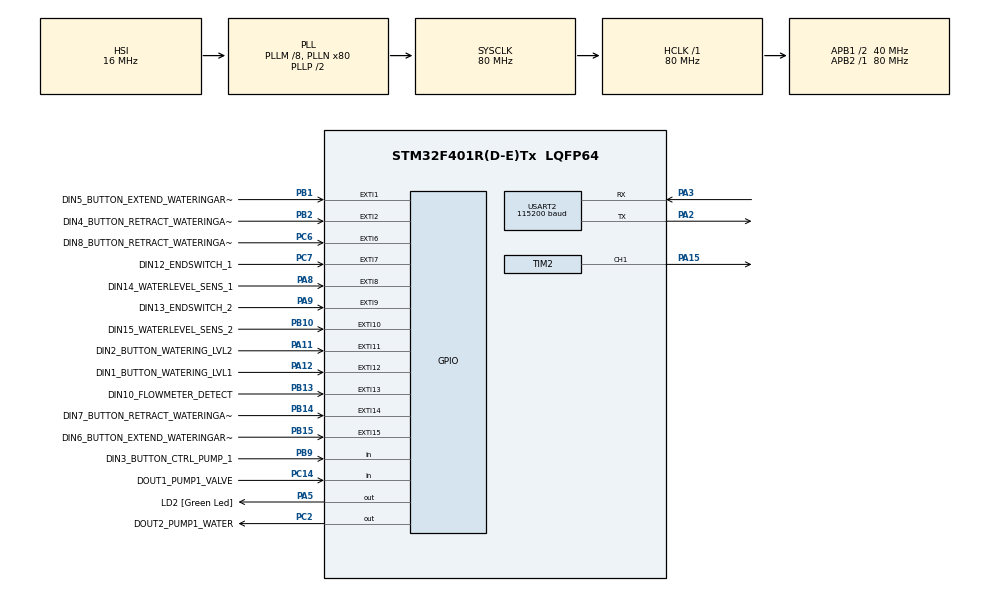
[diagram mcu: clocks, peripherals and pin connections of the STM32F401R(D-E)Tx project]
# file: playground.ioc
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Mcu.Family=STM32F4
Mcu.Name=STM32F401R(D-E)Tx
Mcu.Package=LQFP64
NVIC.EXTI15_10_IRQn=true\:3\:0\:true\:false\:true\:true\:true\:true
NVIC.EXTI1_IRQn=true\:3\:1\:true\:false\:true\:true\:true\:true
NVIC.EXTI2_IRQn=true\:3\:1\:true\:false\:true\:true\:true\:true
NVIC.EXTI9_5_IRQn=true\:3\:1\:true\:false\:true\:true\:true\:true
NVIC.PriorityGroup=NVIC_PRIORITYGROUP_3
NVIC.TIM2_IRQn=true\:0\:0\:false\:false\:true\:true\:true\:true
NVIC.TIM4_IRQn=true\:0\:0\:false\:false\:true\:true\:true\:true
PA11.GPIO_Label=DIN2_BUTTON_WATERING_LVL2
PA11.GPIO_ModeDefaultEXTI=GPIO_MODE_IT_RISING_FALLING
PA11.GPIO_PuPd=GPIO_PULLDOWN
PA11.Signal=GPXTI11
PA12.GPIO_Label=DIN1_BUTTON_WATERING_LVL1
PA12.GPIO_ModeDefaultEXTI=GPIO_MODE_IT_RISING_FALLING
PA12.GPIO_PuPd=GPIO_PULLDOWN
PA12.Signal=GPXTI12
PA13.GPIO_Label=TMS
PA13.Mode=Serial_Wire
PA13.Signal=SYS_JTMS-SWDIO
PA14.GPIO_Label=TCK
PA14.Mode=Serial_Wire
PA14.Signal=SYS_JTCK-SWCLK
PA15.Signal=S_TIM2_CH1_ETR
PA2.Mode=Asynchronous
PA2.Signal=USART2_TX
PA3.Mode=Asynchronous
PA3.Signal=USART2_RX
PA5.GPIO_Label=LD2 [Green Led]
PA5.GPIO_Mode=GPIO_MODE_OUTPUT_PP
PA5.GPIO_PuPd=GPIO_NOPULL
PA5.GPIO_Speed=GPIO_SPEED_FREQ_LOW
PA5.Signal=GPIO_Output
PA8.GPIO_Label=DIN14_WATERLEVEL_SENS_1
PA8.GPIO_ModeDefaultEXTI=GPIO_MODE_IT_RISING_FALLING
PA8.GPIO_PuPd=GPIO_PULLDOWN
PA8.Signal=GPXTI8
PA9.GPIO_Label=DIN13_ENDSWITCH_2
PA9.GPIO_ModeDefaultEXTI=GPIO_MODE_IT_RISING_FALLING
PA9.GPIO_PuPd=GPIO_PULLDOWN
PA9.Signal=GPXTI9
PB1.GPIO_Label=DIN5_BUTTON_EXTEND_WATERINGARM_HORIZ
PB1.GPIO_ModeDefaultEXTI=GPIO_MODE_IT_RISING_FALLING
PB1.GPIO_PuPd=GPIO_PULLDOWN
PB1.Signal=GPXTI1
PB10.GPIO_Label=DIN15_WATERLEVEL_SENS_2
PB10.GPIO_ModeDefaultEXTI=GPIO_MODE_IT_RISING_FALLING
PB10.GPIO_PuPd=GPIO_PULLDOWN
PB10.Signal=GPXTI10
PB13.GPIO_Label=DIN10_FLOWMETER_DETECT
PB13.GPIO_ModeDefaultEXTI=GPIO_MODE_IT_RISING_FALLING
PB13.GPIO_PuPd=GPIO_PULLDOWN
PB13.Signal=GPXTI13
PB14.GPIO_Label=DIN7_BUTTON_RETRACT_WATERINGARM_VERT
PB14.GPIO_ModeDefaultEXTI=GPIO_MODE_IT_RISING_FALLING
PB14.GPIO_PuPd=GPIO_PULLDOWN
PB14.Signal=GPXTI14
PB15.GPIO_Label=DIN6_BUTTON_EXTEND_WATERINGARM_VERT
PB15.GPIO_ModeDefaultEXTI=GPIO_MODE_IT_RISING_FALLING
PB15.GPIO_PuPd=GPIO_PULLDOWN
PB15.Signal=GPXTI15
PB2.GPIO_Label=DIN4_BUTTON_RETRACT_WATERINGARM_VERT_FULL
PB2.GPIO_ModeDefaultEXTI=GPIO_MODE_IT_RISING_FALLING
PB2.GPIO_PuPd=GPIO_PULLDOWN
PB2.Signal=GPXTI2
PB3.GPIO_Label=SWO
PB3.Signal=SYS_JTDO-SWO
PB9.GPIO_Label=DIN3_BUTTON_CTRL_PUMP_1
PB9.GPIO_PuPd=GPIO_PULLDOWN
PB9.Signal=GPIO_Input
PC14-OSC32_IN.GPIO_Label=DOUT1_PUMP1_VALVE
PC14-OSC32_IN.Signal=GPIO_Input
PC2.GPIO_Label=DOUT2_PUMP1_WATER
PC2.GPIO_PuPd=GPIO_NOPULL
PC2.PinState=GPIO_PIN_SET
PC2.Signal=GPIO_Output
PC6.GPIO_Label=DIN8_BUTTON_RETRACT_WATERINGARM_HORIZ
PC6.GPIO_ModeDefaultEXTI=GPIO_MODE_IT_RISING_FALLING
PC6.GPIO_PuPd=GPIO_PULLDOWN
PC6.Signal=GPXTI6
PC7.GPIO_Label=DIN12_ENDSWITCH_1
PC7.GPIO_ModeDefaultEXTI=GPIO_MODE_IT_RISING_FALLING
PC7.GPIO_PuPd=GPIO_PULLDOWN
PC7.Signal=GPXTI7
PH0\ -\ OSC_IN.Mode=HSE-External-Clock-Source
PH0\ -\ OSC_IN.Signal=RCC_OSC_IN
PH1\ -\ OSC_OUT.Mode=HSE-External-Clock-Source
PH1\ -\ OSC_OUT.Signal=RCC_OSC_OUT
ProjectManager.HeapSize=0x200
ProjectManager.StackSize=0x400
ProjectManager.TargetToolchain=STM32CubeIDE
RCC.48MHZClocksFreq_Value=22857142.85714286
RCC.AHBFreq_Value=80000000
RCC.APB1CLKDivider=RCC_HCLK_DIV2
RCC.APB1Freq_Value=40000000
RCC.APB1TimFreq_Value=80000000
RCC.APB2Freq_Value=80000000
RCC.APB2TimFreq_Value=80000000
RCC.CortexFreq_Value=80000000
RCC.HCLKFreq_Value=80000000
RCC.HSE_VALUE=8000000
RCC.HSI_VALUE=16000000
RCC.LSE_VALUE=32768
RCC.PLLM=8
RCC.PLLN=80
RCC.PLLQ=7
RCC.SYSCLKFreq_VALUE=80000000
RCC.SYSCLKSource=RCC_SYSCLKSOURCE_PLLCLK
RCC.VCOOutputFreq_Value=160000000
SH.S_TIM2_CH1_ETR.0=TIM2_CH1,PWM Generation1 CH1
TIM2.Channel-PWM\ Generation1\ CH1=TIM_CHANNEL_1
TIM4.Period=2559 
TIM4.Prescaler=62499
USART2.BaudRate=115200
USART2.VirtualMode=VM_ASYNC
VP_TIM2_VS_ClockSourceINT.Mode=Internal
VP_TIM4_VS_ClockSourceINT.Mode=Internal
board=NUCLEO-F401RE

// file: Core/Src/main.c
/* USER CODE BEGIN Header */
/**
 ******************************************************************************
 * @file           : main.c
 * @brief          : Main program body
 ******************************************************************************
 * @attention
 *
 * Copyright (c) 2025 STMicroelectronics.
 * All rights reserved.
 *
 * This software is licensed under terms that can be found in the LICENSE file
 * in the root directory of this software component.
 * If no LICENSE file comes with this software, it is provided AS-IS.
 *
 ******************************************************************************
 */
/* USER CODE END Header */
#include "main.h"
#include "tim.h"
#include "usart.h"
#include "gpio.h"

/* USER CODE BEGIN Includes */
#include "stdio.h"
#include "DrDebug.h"
#include "DrTimer.h"
#include "DrSystem.h"
#include "Application.h"
#include "MyQueue.h"
#include "DrFlowMeter.h"
/* USER CODE END Includes */

/* USER CODE BEGIN PD */

#define LED_ALIVE(Timer_) \
		if (DrTimer_IsTimerOver(Timer_)) {					\
		    if (TimerLEDKeepAlive.delay_ms == 850)                       \
		    {                                                   \
		    	LL_GPIO_ResetOutputPin(GPIOA, LL_GPIO_PIN_5);   \
		    	DrTimer_StartTimer(Timer_, 150);             \
		    }                                                   \
		    else                                                \
		    {                                                   \
		    	LL_GPIO_SetOutputPin(GPIOA, LL_GPIO_PIN_5);     \
				DrTimer_StartTimer(Timer_, 850);             \
		    }                                                   \
		}

/* USER CODE END PD */

/* USER CODE BEGIN PV */

volatile uint8_t exti12_sw_triggered = 0;
/* USER CODE END PV */

void SystemClock_Config(void);

/* USER CODE BEGIN 0 */
#define USE_UART_FOR_DEBUG 1
int _write(int file, char *ptr, int len)
{
#if (USE_UART_FOR_DEBUG == 1)
	HAL_UART_Transmit(&huart2, (uint8_t*) ptr, len, 4000);
#else
	(void) file;
	int DataIdx;

	for (DataIdx = 0; DataIdx < len; DataIdx++)
	{
		ITM_SendChar(*ptr++);
	}
#endif
	return len;
}

/* USER CODE END 0 */

int main(void)
{

	/* MCU Configuration--------------------------------------------------------*/

	/* Reset of all peripherals, Initializes the Flash interface and the Systick. */
	HAL_Init();

	/* Configure the system clock */
	SystemClock_Config();

	/* USER CODE BEGIN SysInit */
	Disable_And_Record_Enabled_Low_Priority_IRQs();
	/* USER CODE END SysInit */

	/* Initialize all configured peripherals */
	MX_GPIO_Init();
	MX_USART2_UART_Init();
	MX_TIM2_Init();
	MX_TIM4_Init();
	/* USER CODE BEGIN 2 */
	HAL_Delay(10);
	DBG_PRINT("\x1b[35m...delay for system ramp up\x1b[0m");
	HAL_Delay(150);
	Reenable_Previously_Enabled_Low_Priority_IRQs();

	/* LED Timer */
	static sDrTimer_Timer TimerLEDKeepAlive;
	TimerLEDKeepAlive.timMode = eTimMode_CYCLIC;
	DrTimer_StartTimer(&TimerLEDKeepAlive, 800);

	static sDrTimer_Timer TimerUARTKeepAlive;
	TimerUARTKeepAlive.timMode = eTimMode_CYCLIC;
	DrTimer_StartTimer(&TimerUARTKeepAlive, 1);

	static sDrTimer_Timer TimerFlowMeterSim;
	TimerFlowMeterSim.timMode = eTimMode_CYCLIC;
	DrTimer_StartTimer(&TimerFlowMeterSim, 10000);

	static sDrTimer_Timer Timer3;
	Timer3.timMode = eTimMode_CYCLIC;
	DrTimer_StartTimer(&Timer3, 10000);

	/* applicative init */
	DrPushButton_InitButtons();
	Appl_InitApplElements();
	MyQueue_Init(&buttonQueue, buttonQueueBuf, sizeof(sButton), QUEUE_SIZE,
			"ButtonQueue");
	MyQueue_Init(&applQueue, applQueueBuf, sizeof(sApplElement), QUEUE_SIZE,
			"ApplQueue");
	/* USER CODE END 2 */

	/* Infinite loop */
	while (1)
	{

		/* USER CODE BEGIN 3 */
		LED_ALIVE(&TimerLEDKeepAlive);
		if (DrTimer_IsTimerOver(&TimerUARTKeepAlive))
		{
			KEEP_ALIVE_ANIM();
			DrTimer_StartTimer(&TimerUARTKeepAlive, 800);
		}

		ApplHandler_MAIN(&buttonQueue);
		ApplHandler_Watering();
		ApplHandler_ProcessedApplEls();
		ApplHandler_ProcessedButtons();

		if (FlowMeter1.pulseCount_target > 0)
		{
			static uint8_t once = 1;
			if (once)
			{
				DrTimer_StartTimer(&TimerFlowMeterSim, 5000);
				once = 0;
			}

			if (DrTimer_IsTimerOver(&TimerFlowMeterSim))
			{
				FlowMeter1.pulseCount_target = 0;
				DBG_PRINT("DEBUG SIM: SET pulseCount_target '0'");
				DrTimer_StartTimer(&TimerFlowMeterSim, 5000);
				once = 1;
			}
		}

//		if (DrTimer_IsTimerOver(&Timer0))
//		{
//			exti12_sw_triggered = 1;
//			LL_EXTI_GenerateSWI_0_31(LL_EXTI_LINE_12);
//			exti12_sw_triggered = 0;
//		}

//		LL_GPIO_TogglePin(GPIOA, LL_GPIO_PIN_5);
	}
	/* USER CODE END 3 */
}

void SystemClock_Config(void)
{
	RCC_OscInitTypeDef RCC_OscInitStruct =
	{ 0 };
	RCC_ClkInitTypeDef RCC_ClkInitStruct =
	{ 0 };

	/** Configure the main internal regulator output voltage
	 */
	__HAL_RCC_PWR_CLK_ENABLE();
	__HAL_PWR_VOLTAGESCALING_CONFIG(PWR_REGULATOR_VOLTAGE_SCALE2);

	/** Initializes the RCC Oscillators according to the specified parameters
	 * in the RCC_OscInitTypeDef structure.
	 */
	RCC_OscInitStruct.OscillatorType = RCC_OSCILLATORTYPE_HSI;
	RCC_OscInitStruct.HSIState = RCC_HSI_ON;
	RCC_OscInitStruct.HSICalibrationValue = RCC_HSICALIBRATION_DEFAULT;
	RCC_OscInitStruct.PLL.PLLState = RCC_PLL_ON;
	RCC_OscInitStruct.PLL.PLLSource = RCC_PLLSOURCE_HSI;
	RCC_OscInitStruct.PLL.PLLM = 8;
	RCC_OscInitStruct.PLL.PLLN = 80;
	RCC_OscInitStruct.PLL.PLLP = RCC_PLLP_DIV2;
	RCC_OscInitStruct.PLL.PLLQ = 7;
	if (HAL_RCC_OscConfig(&RCC_OscInitStruct) != HAL_OK)
	{
		Error_Handler();
	}

	/** Initializes the CPU, AHB and APB buses clocks
	 */
	RCC_ClkInitStruct.ClockType = RCC_CLOCKTYPE_HCLK | RCC_CLOCKTYPE_SYSCLK
			| RCC_CLOCKTYPE_PCLK1 | RCC_CLOCKTYPE_PCLK2;
	RCC_ClkInitStruct.SYSCLKSource = RCC_SYSCLKSOURCE_PLLCLK;
	RCC_ClkInitStruct.AHBCLKDivider = RCC_SYSCLK_DIV1;
	RCC_ClkInitStruct.APB1CLKDivider = RCC_HCLK_DIV2;
	RCC_ClkInitStruct.APB2CLKDivider = RCC_HCLK_DIV1;

	if (HAL_RCC_ClockConfig(&RCC_ClkInitStruct, FLASH_LATENCY_2) != HAL_OK)
	{
		Error_Handler();
	}
}

void Error_Handler(void)
{
	__disable_irq();
	while (1)
	{
	}
}
